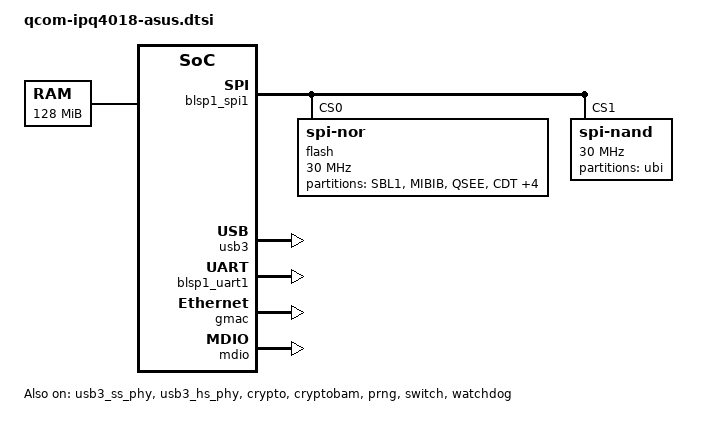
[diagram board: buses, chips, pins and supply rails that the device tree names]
// SPDX-License-Identifier: GPL-2.0-or-later OR MIT

#include <dt-bindings/input/input.h>
#include <dt-bindings/soc/qcom,tcsr.h>
#include <dt-bindings/gpio/gpio.h>

/ {
	memory {
		device_type = "memory";
		reg = <0x80000000 0x8000000>;
	};

	soc {
		tcsr@1949000 {
			compatible = "qcom,tcsr";
			reg = <0x1949000 0x100>;
			qcom,wifi_glb_cfg = <TCSR_WIFI_GLB_CFG>;
		};

		tcsr@194b000 {
			compatible = "qcom,tcsr";
			reg = <0x194b000 0x100>;
			qcom,usb-hsphy-mode-select = <TCSR_USB_HSPHY_HOST_MODE>;
		};

		ess_tcsr@1953000 {
			compatible = "qcom,tcsr";
			reg = <0x1953000 0x1000>;
			qcom,ess-interface-select = <TCSR_ESS_PSGMII>;
		};

		tcsr@1957000 {
			compatible = "qcom,tcsr";
			reg = <0x1957000 0x100>;
			qcom,wifi_noc_memtype_m0_m2 = <TCSR_WIFI_NOC_MEMTYPE_M0_M2>;
		};
	};
};

&blsp1_spi1 { /* BLSP1 QUP1 */
	pinctrl-0 = <&spi_0_pins>;
	pinctrl-names = "default";
	status = "okay";
   
	flash@0 {
		compatible = "jedec,spi-nor";
		reg = <0>;
		spi-max-frequency = <30000000>;

		partitions {
			compatible = "fixed-partitions";
			#address-cells = <1>;
			#size-cells = <1>;

			partition@0 {
				label = "SBL1";
				reg = <0x00000000 0x00040000>;
				read-only;
			};
			partition@40000 {
				label = "MIBIB";
				reg = <0x00040000 0x00020000>;
				read-only;
			};
			partition@60000 {
				label = "QSEE";
				reg = <0x00060000 0x00060000>;
				read-only;
			};
			partition@c0000 {
				label = "CDT";
				reg = <0x000c0000 0x00010000>;
				read-only;
			};
			partition@d0000 {
				label = "DDRPARAMS";
				reg = <0x000d0000 0x00010000>;
				read-only;
			};
			partition@e0000 {
				label = "APPSBLENV"; /* uboot env*/
				reg = <0x000e0000 0x00010000>;
				read-only;
			};
			partition@f0000 {
				label = "APPSBL"; /* uboot */
				reg = <0x000f0000 0x00080000>;
				read-only;
			};
			partition@170000 {
				label = "ART";
				reg = <0x00170000 0x00010000>;
				read-only;
			};
			/* 0x00180000 - 0x00200000 unused */
		};
	};

	spi-nand@1 {
		compatible = "spi-nand";
		reg = <1>;
		spi-max-frequency = <30000000>;

		partitions {
			compatible = "fixed-partitions";
			#address-cells = <1>;
			#size-cells = <1>;

			partition@0 {
				label = "ubi";
				reg = <0x00000000 0x08000000>;
			};
		};
	};
};

&usb3 {
	status = "okay";
	
	dwc3@8a00000 {
		#address-cells = <1>;
		#size-cells = <0>;

		usb3_port1: port@1 {
			reg = <1>;
			#trigger-source-cells = <0>;
		};

		usb3_port2: port@2 {
			reg = <2>;
			#trigger-source-cells = <0>;
		};
	};		
};

&usb3_ss_phy {
	status = "okay";
};

&usb3_hs_phy {
	status = "okay";
};

&blsp1_uart1 {
	pinctrl-0 = <&serial_pins>;
	pinctrl-names = "default";
	status = "okay";
};

&blsp_dma {
	status = "okay";
};

&crypto {
	status = "okay";
};

&cryptobam {
	status = "okay";
};

&gmac {
	status = "okay";
};

&mdio {
	status = "okay";
};

&prng {
	status = "okay";
};

&switch {
	status = "okay";
};

&watchdog {
	status = "okay";
};
